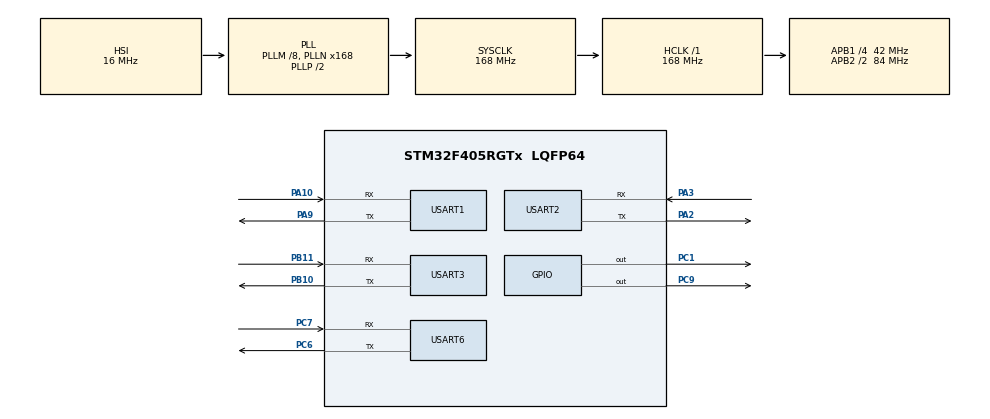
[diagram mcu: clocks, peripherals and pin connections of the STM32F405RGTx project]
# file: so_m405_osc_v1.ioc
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Mcu.Family=STM32F4
Mcu.Name=STM32F405RGTx
Mcu.Package=LQFP64
NVIC.PriorityGroup=NVIC_PRIORITYGROUP_4
NVIC.USART1_IRQn=true\:0\:0\:false\:true\:true\:1\:true\:true
NVIC.USART2_IRQn=true\:0\:0\:false\:true\:true\:2\:true\:true
NVIC.USART3_IRQn=true\:0\:0\:false\:true\:true\:3\:true\:true
NVIC.USART6_IRQn=true\:0\:0\:false\:true\:true\:4\:true\:true
PA10.Mode=Asynchronous
PA10.Signal=USART1_RX
PA2.Mode=Asynchronous
PA2.Signal=USART2_TX
PA3.Mode=Asynchronous
PA3.Signal=USART2_RX
PA9.Mode=Asynchronous
PA9.Signal=USART1_TX
PB10.Mode=Asynchronous
PB10.Signal=USART3_TX
PB11.Mode=Asynchronous
PB11.Signal=USART3_RX
PC1.Signal=GPIO_Output
PC14-OSC32_IN.Mode=LSE-External-Oscillator
PC14-OSC32_IN.Signal=RCC_OSC32_IN
PC15-OSC32_OUT.Mode=LSE-External-Oscillator
PC15-OSC32_OUT.Signal=RCC_OSC32_OUT
PC6.Mode=Asynchronous
PC6.Signal=USART6_TX
PC7.Mode=Asynchronous
PC7.Signal=USART6_RX
PC9.Signal=GPIO_Output
PH0-OSC_IN.Mode=HSE-External-Oscillator
PH0-OSC_IN.Signal=RCC_OSC_IN
PH1-OSC_OUT.Mode=HSE-External-Oscillator
PH1-OSC_OUT.Signal=RCC_OSC_OUT
ProjectManager.HeapSize=0x200
ProjectManager.StackSize=0x400
ProjectManager.TargetToolchain=TrueSTUDIO
RCC.48MHZClocksFreq_Value=84000000
RCC.AHBFreq_Value=168000000
RCC.APB1CLKDivider=RCC_HCLK_DIV4
RCC.APB1Freq_Value=42000000
RCC.APB1TimFreq_Value=84000000
RCC.APB2CLKDivider=RCC_HCLK_DIV2
RCC.APB2Freq_Value=84000000
RCC.APB2TimFreq_Value=168000000
RCC.CortexFreq_Value=168000000
RCC.HCLKFreq_Value=168000000
RCC.HSE_VALUE=8000000
RCC.HSI_VALUE=16000000
RCC.PLLM=8
RCC.PLLN=168
RCC.SYSCLKFreq_VALUE=168000000
RCC.SYSCLKSource=RCC_SYSCLKSOURCE_PLLCLK
RCC.VCOOutputFreq_Value=336000000
USART1.VirtualMode=VM_ASYNC
USART2.VirtualMode=VM_ASYNC
USART3.VirtualMode=VM_ASYNC
USART6.VirtualMode=VM_ASYNC
board=custom

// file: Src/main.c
/* USER CODE BEGIN Header */
/**
  ******************************************************************************
  * @file           : main.c
  * @brief          : Main program body
  ******************************************************************************
  * @attention
  *
  * <h2><center>&copy; Copyright (c) 2020 STMicroelectronics.
  * All rights reserved.</center></h2>
  *
  * This software component is licensed by ST under BSD 3-Clause license,
  * the "License"; You may not use this file except in compliance with the
  * License. You may obtain a copy of the License at:
  *                        opensource.org/licenses/BSD-3-Clause
  *
  ******************************************************************************
  */
/* USER CODE END Header */

#include "main.h"
#include "usart.h"
#include "gpio.h"

/* USER CODE BEGIN Includes */
#include <stdio.h>
#include "UartRingbuffer.h"
/* USER CODE END Includes */

/* USER CODE BEGIN PV */
int _isr_cnt = 0;
/* USER CODE END PV */

void SystemClock_Config(void);
static void MX_NVIC_Init(void);
/* USER CODE BEGIN PFP */
extern char set_apptimer(int id, int expires);
extern char chk_apptimer(int id);
extern void app_main();
int _write(int file, char *p, int len)
{
	HAL_UART_Transmit(&huart1, (uint8_t *)p, len, 10);
	return len;
}

/* USER CODE END PFP */

int main(void)

{

  /* MCU Configuration--------------------------------------------------------*/

  /* Reset of all peripherals, Initializes the Flash interface and the Systick. */
  HAL_Init();

  /* Configure the system clock */
  SystemClock_Config();

  /* Initialize all configured peripherals */
  MX_GPIO_Init();
  MX_USART1_UART_Init();
  MX_USART2_UART_Init();
  MX_USART3_UART_Init();
  MX_USART6_UART_Init();

  /* Initialize interrupts */
  MX_NVIC_Init();
  /* USER CODE BEGIN 2 */
  Ringbuf_init();

  printf("smartoutlet main program start...\r\n");

  SysTick_Config(SystemCoreClock / 1000);
  for (int i = 0; i < 10; i++)
  {
	  HAL_Delay(1000);
  	  printf("%d sec\r\n", i+1);
  }

  set_apptimer(1, 1000);
  // BLE, LoRa reset
  HAL_GPIO_WritePin(GPIOC, GPIO_PIN_1|GPIO_PIN_9, GPIO_PIN_SET);
  HAL_Delay(10);
  HAL_GPIO_WritePin(GPIOC, GPIO_PIN_1|GPIO_PIN_9, GPIO_PIN_RESET);
  HAL_Delay(10);
  HAL_GPIO_WritePin(GPIOC, GPIO_PIN_1|GPIO_PIN_9, GPIO_PIN_SET);
  HAL_Delay(10);
  /* USER CODE END 2 */

  /* Infinite loop */
  /* USER CODE BEGIN WHILE */
  app_main();
  while (1)
  {

    /* USER CODE END WHILE */

  }
}

void SystemClock_Config(void)
{
  RCC_OscInitTypeDef RCC_OscInitStruct = {0};
  RCC_ClkInitTypeDef RCC_ClkInitStruct = {0};

  /** Configure the main internal regulator output voltage
  */
  __HAL_RCC_PWR_CLK_ENABLE();
  __HAL_PWR_VOLTAGESCALING_CONFIG(PWR_REGULATOR_VOLTAGE_SCALE1);
  /** Initializes the CPU, AHB and APB busses clocks
  */
  RCC_OscInitStruct.OscillatorType = RCC_OSCILLATORTYPE_HSI;
  RCC_OscInitStruct.HSIState = RCC_HSI_ON;
  RCC_OscInitStruct.HSICalibrationValue = RCC_HSICALIBRATION_DEFAULT;
  RCC_OscInitStruct.PLL.PLLState = RCC_PLL_ON;
  RCC_OscInitStruct.PLL.PLLSource = RCC_PLLSOURCE_HSI;
  RCC_OscInitStruct.PLL.PLLM = 8;
  RCC_OscInitStruct.PLL.PLLN = 168;
  RCC_OscInitStruct.PLL.PLLP = RCC_PLLP_DIV2;
  RCC_OscInitStruct.PLL.PLLQ = 4;
  if (HAL_RCC_OscConfig(&RCC_OscInitStruct) != HAL_OK)
  {
    Error_Handler();
  }
  /** Initializes the CPU, AHB and APB busses clocks
  */
  RCC_ClkInitStruct.ClockType = RCC_CLOCKTYPE_HCLK|RCC_CLOCKTYPE_SYSCLK
                              |RCC_CLOCKTYPE_PCLK1|RCC_CLOCKTYPE_PCLK2;
  RCC_ClkInitStruct.SYSCLKSource = RCC_SYSCLKSOURCE_PLLCLK;
  RCC_ClkInitStruct.AHBCLKDivider = RCC_SYSCLK_DIV1;
  RCC_ClkInitStruct.APB1CLKDivider = RCC_HCLK_DIV4;
  RCC_ClkInitStruct.APB2CLKDivider = RCC_HCLK_DIV2;

  if (HAL_RCC_ClockConfig(&RCC_ClkInitStruct, FLASH_LATENCY_5) != HAL_OK)
  {
    Error_Handler();
  }
}

/**
  * @brief NVIC Configuration.
  * @retval None
  */
static void MX_NVIC_Init(void)
{
  /* USART1_IRQn interrupt configuration */
  HAL_NVIC_SetPriority(USART1_IRQn, 0, 0);
  HAL_NVIC_EnableIRQ(USART1_IRQn);
  /* USART2_IRQn interrupt configuration */
  HAL_NVIC_SetPriority(USART2_IRQn, 0, 0);
  HAL_NVIC_EnableIRQ(USART2_IRQn);
  /* USART3_IRQn interrupt configuration */
  HAL_NVIC_SetPriority(USART3_IRQn, 0, 0);
  HAL_NVIC_EnableIRQ(USART3_IRQn);
  /* USART6_IRQn interrupt configuration */
  HAL_NVIC_SetPriority(USART6_IRQn, 0, 0);
  HAL_NVIC_EnableIRQ(USART6_IRQn);
}

void Error_Handler(void)
{
}

/************************ (C) COPYRIGHT STMicroelectronics *****END OF FILE****/
